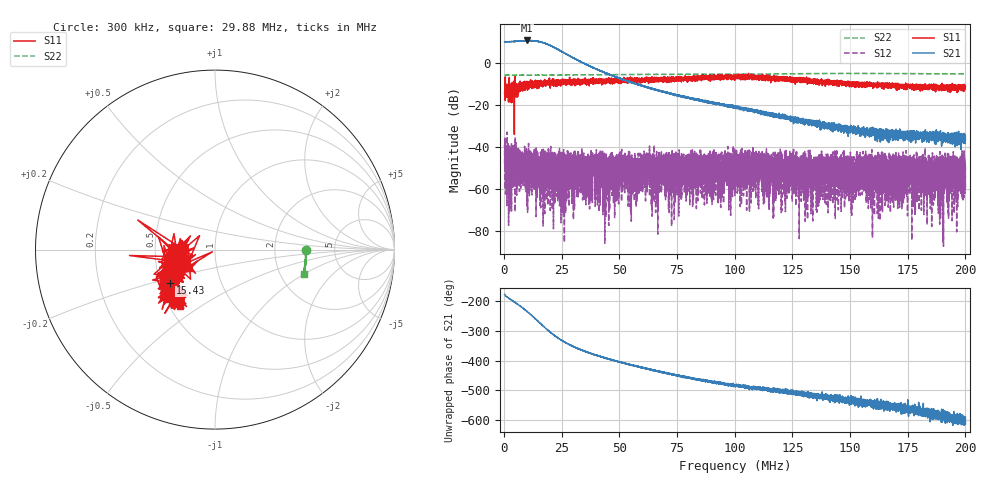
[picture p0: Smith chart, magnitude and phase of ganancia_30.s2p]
# Hz S DB R 50
! CMT, M5065, 19127446, 24.2.4/2
! Date: 11/8/2024 5:10:58 PM
! Data: Format (Calibration Info)
! Freq	S11:dB/Ang(F2)	S21:dB/Ang(F2)	S12:dB/Ang(F2)	S22:dB/Ang(F2)
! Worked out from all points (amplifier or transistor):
!   9000 points, 300 kHz to 200 MHz, reference 50 ohm
!   highest |S21| = 10.6 dB at 10.15 MHz (marker M1)
!   |S21| within 3 dB of that: start of sweep to 21.15 MHz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
!   unconditionally stable (mu >= 1): start of sweep to end of sweep
!   at 33.59 MHz: K = 49.07, MAG = 2.4 dB, |S12| = -44.3 dB
!   at 100.2 MHz: K = 1872.09, MAG = -18.8 dB, |S12| = -55.2 dB
!   at 200 MHz: K = 6250.87, MAG = -34.9 dB, |S12| = -48.9 dB
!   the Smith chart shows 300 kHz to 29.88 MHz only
!   S11 on the Smith chart (normalised r, x): 300 kHz: 0.67, -0.04; 15.43 MHz: 0.57, -0.24; 29.88 MHz: 0.57, -0.41
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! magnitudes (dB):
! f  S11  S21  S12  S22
! 300 kHz  -14.2  10.0  -48.4  -5.9
! 5.249 MHz  -16.4  10.2  -50.7  -5.9
! 10.15 MHz  -9.8  10.6  -46.3  -5.9
! 15.43 MHz  -10.1  10.0  -47.6  -5.9
! 24.53 MHz  -8.6  5.7  -57.9  -5.8
! 26.29 MHz  -9.8  4.6  -48.4  -5.8
! 29.88 MHz  -8.6  2.5  -43.7  -5.8
! 33.59 MHz  -8.4  0.3  -44.3  -5.8
! 48.17 MHz  -8.3  -6.6  -62.4  -5.6
! 51.74 MHz  -8.4  -8.0  -47.7  -5.6
! 55.56 MHz  -7.6  -9.4  -52.8  -5.6
! 60.06 MHz  -8.3  -11.0  -52.8  -5.6
! 66.87 MHz  -8.2  -13.3  -45.1  -5.5
! 91.06 MHz  -7.0  -19.0  -57.9  -5.5
! 93.73 MHz  -7.5  -19.9  -56.3  -5.5
! 100.2 MHz  -6.8  -21.2  -55.2  -5.4
! 133.4 MHz  -8.5  -30.1  -60.7  -5.2
! 166.7 MHz  -10.4  -32.2  -48.7  -5.1
! 184.4 MHz  -12.3  -33.6  -49.2  -5.2
! 191.7 MHz  -11.3  -34.3  -49.2  -5.3
! 196.1 MHz  -12.2  -33.8  -50.9  -5.3
! 200 MHz  -11.3  -36.8  -48.9  -5.3
